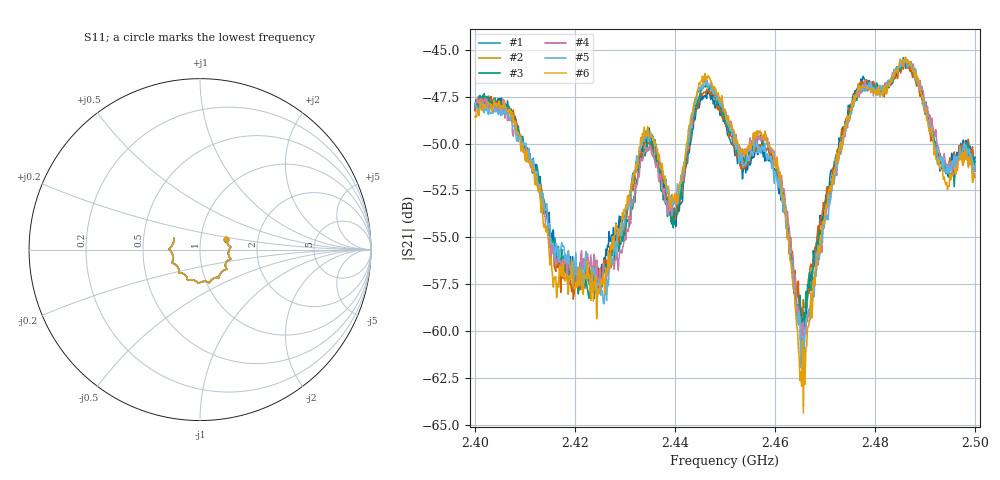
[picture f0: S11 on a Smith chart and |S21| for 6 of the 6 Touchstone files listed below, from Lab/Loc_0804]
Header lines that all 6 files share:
# Hz S RI R
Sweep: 2.4 GHz to 2.5 GHz
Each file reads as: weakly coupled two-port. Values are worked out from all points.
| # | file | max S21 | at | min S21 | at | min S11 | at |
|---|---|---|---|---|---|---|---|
| 1 | Lab_139_1Ch1.s2p | -45.72 dB | 2.4858 GHz | -61.3 dB | 2.4652 GHz | -15.9 dB | 2.4983 GHz |
| 2 | Lab_139_2Ch1.s2p | -45.74 dB | 2.4855 GHz | -59.7 dB | 2.465 GHz | -15.9 dB | 2.4987 GHz |
| 3 | Lab_139_4Ch1.s2p | -45.43 dB | 2.4857 GHz | -60.1 dB | 2.4655 GHz | -15.9 dB | 2.4987 GHz |
| 4 | Lab_139_6Ch1.s2p | -45.53 dB | 2.4857 GHz | -60.8 dB | 2.4655 GHz | -15.9 dB | 2.4983 GHz |
| 5 | Lab_139_8Ch1.s2p | -45.50 dB | 2.4855 GHz | -61.9 dB | 2.4652 GHz | -15.9 dB | 2.4987 GHz |
| 6 | Lab_139_10Ch1.s2p | -45.40 dB | 2.4862 GHz | -64.4 dB | 2.4657 GHz | -15.9 dB | 2.4983 GHz |
